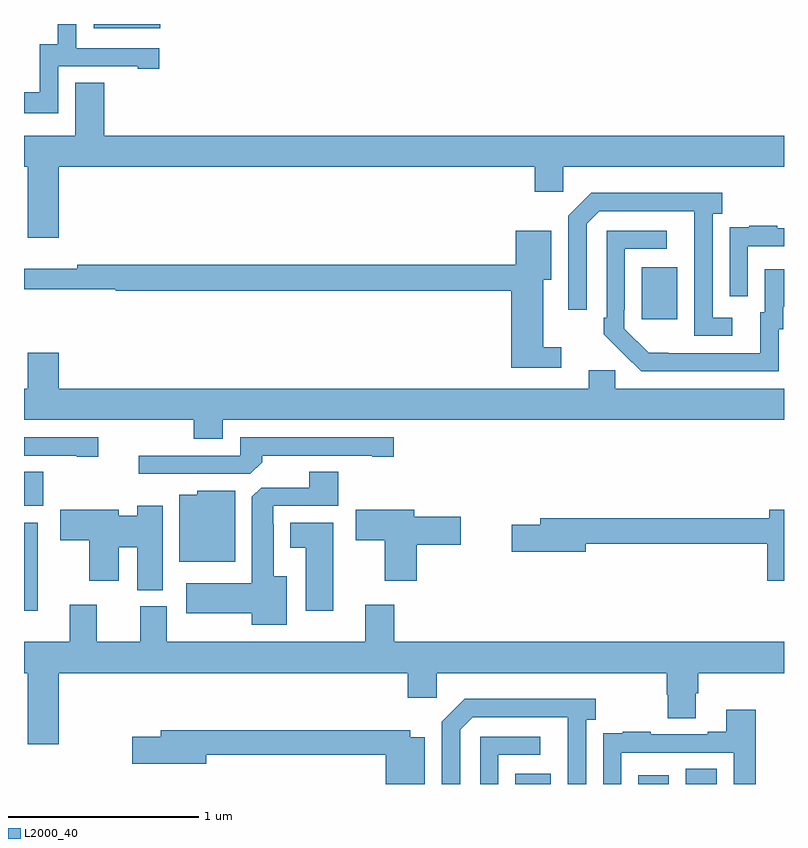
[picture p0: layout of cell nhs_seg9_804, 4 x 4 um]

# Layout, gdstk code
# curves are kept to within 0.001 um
import gdstk
lib = gdstk.Library(unit=1e-6, precision=1e-09)
def R(c, l, rs):  # rectangles x0, y0, x1, y1
    for r in rs: c.add(gdstk.rectangle(r[:2], r[2:], *l))
def P(c, l, *ps):  # polygons
    for p in ps: c.add(gdstk.Polygon(p, *l))
L2000_40 = (2000, 40)

nhs_seg9_804 = lib.new_cell('nhs_seg9_804')
R(nhs_seg9_804, L2000_40, [(155.585,1198.5,155.773,1198.555), (156.233,1198.5,156.394,1198.546), (156.482,1198.5,156.646,1198.58), (153,1199.412,153.073,1199.875), (153,1199.964,153.101,1200.143), (156.251,1200.945,156.439,1201.219), (153.366,1202.477,153.718,1202.5)])
P(nhs_seg9_804, L2000_40, [(153.18,1202.277),(153.599,1202.277),(153.599,1202.265),(153.712,1202.265),(153.712,1202.373),(153.276,1202.373),(153.276,1202.5),(153.178,1202.5),(153.178,1202.393),(153.083,1202.393),(153.083,1202.142),(153,1202.142),(153,1202.031),(153.18,1202.031)],
  [(153.184,1201.748),(155.687,1201.748),(155.687,1201.617),(155.838,1201.617),(155.838,1201.748),(157,1201.748),(157,1201.912),(153.422,1201.912),(153.422,1202.192),(153.269,1202.192),(153.269,1201.912),(153,1201.912),(153,1201.748),(153.02,1201.748),(153.02,1201.374),(153.184,1201.374)],
  [(156.727,1200.954),(156.624,1200.954),(156.624,1201.502),(156.676,1201.502),(156.676,1201.612),(155.986,1201.612),(155.865,1201.491),(155.865,1200.996),(155.961,1200.996),(155.961,1201.449),(156.027,1201.515),(156.527,1201.515),(156.528,1200.858),(156.727,1200.858)],
  [(156.81,1201.329),(157,1201.329),(157,1201.425),(156.965,1201.425),(156.965,1201.438),(156.817,1201.438),(156.817,1201.431),(156.715,1201.431),(156.715,1201.322),(156.714,1201.322),(156.714,1201.068),(156.81,1201.068)],
  [(156.972,1200.894),(156.997,1200.894),(156.997,1201.013),(157,1201.013),(157,1201.21),(156.899,1201.21),(156.899,1200.984),(156.875,1200.984),(156.875,1200.768),(156.288,1200.769),(156.159,1200.897),(156.159,1200.997),(156.162,1200.997),(156.162,1201.317),(156.382,1201.317),(156.382,1201.413),(156.066,1201.413),(156.066,1200.955),(156.051,1200.955),(156.051,1200.867),(156.248,1200.672),(156.972,1200.672)],
  [(155.827,1200.799),(155.734,1200.799),(155.734,1201.154),(155.776,1201.154),(155.776,1201.411),(155.588,1201.411),(155.588,1201.232),(153.28,1201.232),(153.28,1201.213),(153,1201.213),(153,1201.104),(153.482,1201.104),(153.482,1201.096),(155.564,1201.096),(155.564,1200.69),(155.827,1200.69)],
  [(154.045,1200.416),(157,1200.416),(157,1200.58),(156.111,1200.58),(156.111,1200.678),(155.972,1200.678),(155.972,1200.58),(153.184,1200.58),(153.184,1200.769),(153.02,1200.769),(153.02,1200.58),(153,1200.58),(153,1200.416),(153.893,1200.416),(153.893,1200.317),(154.045,1200.317)],
  [(154.253,1200.194),(154.253,1200.228),(154.832,1200.228),(154.832,1200.223),(154.945,1200.223),(154.945,1200.324),(154.137,1200.324),(154.137,1200.228),(153.603,1200.228),(153.603,1200.132),(154.191,1200.132)],
  [(153.391,1200.324),(153,1200.324),(153,1200.228),(153.278,1200.228),(153.278,1200.223),(153.391,1200.223)],
  [(154.384,1199.593),(154.315,1199.593),(154.315,1199.867),(154.311,1199.867),(154.311,1199.964),(154.655,1199.964),(154.655,1200.143),(154.502,1200.143),(154.502,1200.06),(154.248,1200.06),(154.199,1200.011),(154.199,1199.557),(153.855,1199.557),(153.855,1199.399),(154.199,1199.399),(154.199,1199.339),(154.384,1199.339)],
  [(154.111,1200.043),(153.912,1200.043),(153.912,1200.022),(153.818,1200.022),(153.818,1199.669),(154.111,1199.669)],
  [(153.73,1199.965),(153.596,1199.965),(153.596,1199.911),(153.499,1199.911),(153.499,1199.944),(153.192,1199.944),(153.192,1199.782),(153.344,1199.782),(153.344,1199.571),(153.499,1199.571),(153.499,1199.746),(153.596,1199.746),(153.596,1199.521),(153.73,1199.521)],
  [(157,1199.944),(156.923,1199.944),(156.923,1199.9),(155.717,1199.9),(155.717,1199.864),(155.568,1199.864),(155.568,1199.722),(155.956,1199.722),(155.956,1199.764),(156.911,1199.764),(156.911,1199.571),(157,1199.571)],
  [(155.066,1199.759),(155.299,1199.759),(155.299,1199.906),(155.053,1199.906),(155.053,1199.944),(154.746,1199.944),(154.746,1199.782),(154.898,1199.782),(154.898,1199.571),(155.066,1199.571)],
  [(154.627,1199.875),(154.4,1199.875),(154.4,1199.744),(154.484,1199.744),(154.484,1199.412),(154.627,1199.412)],
  [(153.184,1199.084),(155.021,1199.084),(155.021,1198.953),(155.172,1198.953),(155.172,1199.084),(156.383,1199.084),(156.383,1198.971),(156.388,1198.971),(156.388,1198.846),(156.535,1198.846),(156.535,1198.978),(156.548,1198.978),(156.548,1199.084),(157,1199.084),(157,1199.248),(154.949,1199.248),(154.949,1199.443),(154.796,1199.443),(154.796,1199.248),(153.751,1199.248),(153.751,1199.436),(153.611,1199.436),(153.611,1199.248),(153.382,1199.248),(153.382,1199.443),(153.242,1199.443),(153.242,1199.248),(153,1199.248),(153,1199.084),(153.02,1199.084),(153.02,1198.71),(153.184,1198.71)],
  [(155.295,1198.785),(155.361,1198.851),(155.861,1198.851),(155.862,1198.5),(155.958,1198.5),(155.958,1198.838),(156.01,1198.838),(156.01,1198.948),(155.32,1198.948),(155.199,1198.827),(155.199,1198.5),(155.295,1198.5)],
  [(156.144,1198.665),(156.735,1198.665),(156.735,1198.5),(156.851,1198.5),(156.851,1198.891),(156.695,1198.891),(156.695,1198.774),(156.599,1198.774),(156.599,1198.761),(156.299,1198.761),(156.299,1198.774),(156.151,1198.774),(156.151,1198.767),(156.049,1198.767),(156.049,1198.658),(156.048,1198.658),(156.048,1198.5),(156.144,1198.5)],
  [(155.11,1198.747),(155.034,1198.747),(155.034,1198.783),(153.719,1198.783),(153.719,1198.749),(153.57,1198.749),(153.57,1198.607),(153.958,1198.607),(153.958,1198.654),(154.903,1198.654),(154.903,1198.5),(155.11,1198.5)],
  [(155.496,1198.653),(155.716,1198.653),(155.716,1198.749),(155.4,1198.749),(155.4,1198.5),(155.496,1198.5)])

lib.write_gds('nhs_seg9_804.gds')
